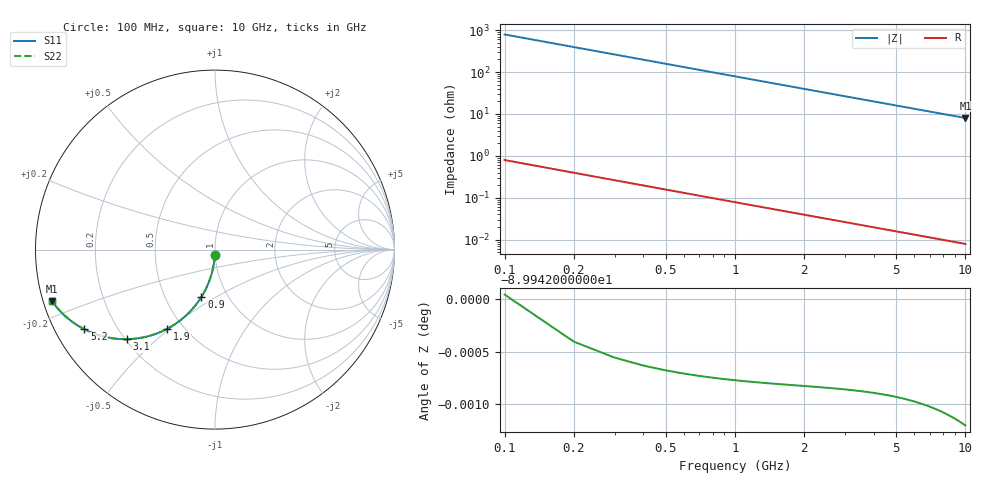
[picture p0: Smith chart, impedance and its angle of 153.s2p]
# Hz S RI R 50.00
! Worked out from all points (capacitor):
!   100 points, 100 MHz to 10 GHz, reference 50 ohm
!   read as one part in shunt: C = 2.03 pF near 100 MHz
!   lowest |Z| = 8.01 ohm at 10 GHz (marker M1)
!   S11 on the Smith chart (normalised r, x): 100 MHz: 1.00, -0.06; 900 MHz: 0.75, -0.43; 1.9 GHz: 0.41, -0.49; 3.1 GHz: 0.21, -0.40; 5.2 GHz: 0.09, -0.28; 10 GHz: 0.03, -0.15
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1e8  -0.00104 -0.0318  0.999 -0.0318  0.999 -0.0318  -0.00104 -0.0318
2e8  -0.0041 -0.0634  0.9959 -0.0634  0.9959 -0.0634  -0.0041 -0.0634
3e8  -0.00912 -0.0945  0.9909 -0.0946  0.9909 -0.0946  -0.00912 -0.0945
4e8  -0.0161 -0.1251  0.9839 -0.1252  0.9839 -0.1252  -0.0161 -0.1251
5e8  -0.0248 -0.155  0.9752 -0.1551  0.9752 -0.1551  -0.0248 -0.155
6e8  -0.0353 -0.1839  0.9647 -0.1841  0.9647 -0.1841  -0.0353 -0.1839
7e8  -0.0474 -0.2118  0.9526 -0.212  0.9526 -0.212  -0.0474 -0.2118
9e8  -0.0758 -0.2641  0.9242 -0.2643  0.9242 -0.2643  -0.0758 -0.2641
1.1e9  -0.109 -0.3109  0.891 -0.3112  0.891 -0.3112  -0.109 -0.3109
1.3e9  -0.1457 -0.3521  0.8543 -0.3524  0.8543 -0.3524  -0.1457 -0.3521
1.5e9  -0.1847 -0.3874  0.8152 -0.3878  0.8152 -0.3878  -0.1847 -0.3874
1.8e9  -0.2456 -0.4297  0.7544 -0.4302  0.7544 -0.4302  -0.2456 -0.4297
1.9e9  -0.2661 -0.4411  0.7339 -0.4416  0.7339 -0.4416  -0.2661 -0.4411
2.5e9  -0.3846 -0.4857  0.6153 -0.4863  0.6153 -0.4863  -0.3846 -0.4857
3.1e9  -0.4892 -0.499  0.5108 -0.4998  0.5108 -0.4998  -0.4892 -0.499
3.4e9  -0.535 -0.4978  0.465 -0.4987  0.465 -0.4987  -0.535 -0.4978
4.2e9  -0.6363 -0.48  0.3637 -0.4811  0.3637 -0.4811  -0.6363 -0.48
5.1e9  -0.72 -0.4478  0.28 -0.4492  0.28 -0.4492  -0.72 -0.4478
5.2e9  -0.7277 -0.4439  0.2723 -0.4453  0.2723 -0.4453  -0.7277 -0.4439
6.7e9  -0.8156 -0.3864  0.1844 -0.3883  0.1844 -0.3883  -0.8156 -0.3864
8.4e9  -0.8739 -0.3303  0.1261 -0.3326  0.1261 -0.3326  -0.8739 -0.3303
1e10  -0.9075 -0.2879  0.0925 -0.2906  0.0925 -0.2906  -0.9075 -0.2879
